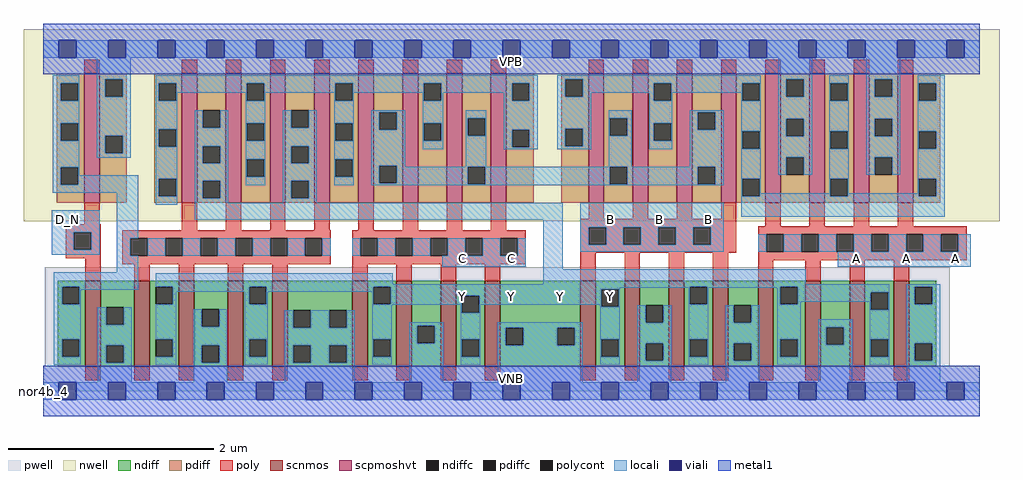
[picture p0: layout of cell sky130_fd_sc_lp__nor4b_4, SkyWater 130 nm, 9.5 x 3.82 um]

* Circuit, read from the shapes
.subckt sky130_fd_sc_lp__nor4b_4 A B C D_N VGND VNB VPB VPWR Y
XM1 VGND D_N n1 VNB sky130_fd_pr__nfet_01v8 w=0.84 l=0.15
XM2 Y n1 VGND VNB sky130_fd_pr__nfet_01v8 w=0.84 l=0.15 m=4
XM3 Y C VGND VNB sky130_fd_pr__nfet_01v8 w=0.84 l=0.15 m=4
XM4 Y B VGND VNB sky130_fd_pr__nfet_01v8 w=0.84 l=0.15 m=4
XM5 Y A VGND VNB sky130_fd_pr__nfet_01v8 w=0.84 l=0.15 m=4
XM6 VPWR D_N n1 VPB sky130_fd_pr__pfet_01v8_hvt w=1.26 l=0.15
XM7 Y n1 n2 VPB sky130_fd_pr__pfet_01v8_hvt w=1.26 l=0.15 m=4
XM8 n3 C n2 VPB sky130_fd_pr__pfet_01v8_hvt w=1.26 l=0.15 m=4
XM9 n3 B n4 VPB sky130_fd_pr__pfet_01v8_hvt w=1.26 l=0.15 m=4
XM10 VPWR A n4 VPB sky130_fd_pr__pfet_01v8_hvt w=1.26 l=0.15 m=4
.ends

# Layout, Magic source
magic
tech sky130A
magscale 1 2
<< nwell >>
rect -38 331 1862 704
<< pwell >>
rect 3 49 1765 241
rect 0 0 1824 49
<< scnmos >>
rect 82 47 112 215
rect 178 47 208 215
rect 264 47 294 215
rect 360 47 390 215
rect 446 47 476 215
rect 602 47 632 215
rect 688 47 718 215
rect 774 47 804 215
rect 860 47 890 215
rect 1046 47 1076 215
rect 1132 47 1162 215
rect 1218 47 1248 215
rect 1304 47 1334 215
rect 1392 47 1422 215
rect 1484 47 1514 215
rect 1570 47 1600 215
rect 1656 47 1686 215
<< scpmoshvt >>
rect 80 367 110 619
rect 270 367 300 619
rect 356 367 386 619
rect 442 367 472 619
rect 528 367 558 619
rect 614 367 644 619
rect 700 367 730 619
rect 786 367 816 619
rect 872 367 902 619
rect 1062 367 1092 619
rect 1148 367 1178 619
rect 1234 367 1264 619
rect 1320 367 1350 619
rect 1406 367 1436 619
rect 1492 367 1522 619
rect 1578 367 1608 619
rect 1664 367 1694 619
<< ndiff >>
rect 29 203 82 215
rect 29 169 37 203
rect 71 169 82 203
rect 29 101 82 169
rect 29 67 37 101
rect 71 67 82 101
rect 29 47 82 67
rect 112 163 178 215
rect 112 129 123 163
rect 157 129 178 163
rect 112 89 178 129
rect 112 55 123 89
rect 157 55 178 89
rect 112 47 178 55
rect 208 203 264 215
rect 208 169 219 203
rect 253 169 264 203
rect 208 101 264 169
rect 208 67 219 101
rect 253 67 264 101
rect 208 47 264 67
rect 294 159 360 215
rect 294 125 309 159
rect 343 125 360 159
rect 294 89 360 125
rect 294 55 309 89
rect 343 55 360 89
rect 294 47 360 55
rect 390 203 446 215
rect 390 169 401 203
rect 435 169 446 203
rect 390 101 446 169
rect 390 67 401 101
rect 435 67 446 101
rect 390 47 446 67
rect 476 157 602 215
rect 476 123 487 157
rect 521 123 557 157
rect 591 123 602 157
rect 476 89 602 123
rect 476 55 487 89
rect 521 55 557 89
rect 591 55 602 89
rect 476 47 602 55
rect 632 203 688 215
rect 632 169 643 203
rect 677 169 688 203
rect 632 101 688 169
rect 632 67 643 101
rect 677 67 688 101
rect 632 47 688 67
rect 718 127 774 215
rect 718 93 729 127
rect 763 93 774 127
rect 718 47 774 93
rect 804 186 860 215
rect 804 152 815 186
rect 849 152 860 186
rect 804 101 860 152
rect 804 67 815 101
rect 849 67 860 101
rect 804 47 860 67
rect 890 123 1046 215
rect 890 89 901 123
rect 935 89 1001 123
rect 1035 89 1046 123
rect 890 47 1046 89
rect 1076 198 1132 215
rect 1076 164 1087 198
rect 1121 164 1132 198
rect 1076 101 1132 164
rect 1076 67 1087 101
rect 1121 67 1132 101
rect 1076 47 1132 67
rect 1162 167 1218 215
rect 1162 133 1173 167
rect 1207 133 1218 167
rect 1162 93 1218 133
rect 1162 59 1173 93
rect 1207 59 1218 93
rect 1162 47 1218 59
rect 1248 203 1304 215
rect 1248 169 1259 203
rect 1293 169 1304 203
rect 1248 101 1304 169
rect 1248 67 1259 101
rect 1293 67 1304 101
rect 1248 47 1304 67
rect 1334 167 1392 215
rect 1334 133 1345 167
rect 1379 133 1392 167
rect 1334 93 1392 133
rect 1334 59 1345 93
rect 1379 59 1392 93
rect 1334 47 1392 59
rect 1422 203 1484 215
rect 1422 169 1435 203
rect 1469 169 1484 203
rect 1422 101 1484 169
rect 1422 67 1435 101
rect 1469 67 1484 101
rect 1422 47 1484 67
rect 1514 124 1570 215
rect 1514 90 1525 124
rect 1559 90 1570 124
rect 1514 47 1570 90
rect 1600 192 1656 215
rect 1600 158 1611 192
rect 1645 158 1656 192
rect 1600 101 1656 158
rect 1600 67 1611 101
rect 1645 67 1656 101
rect 1600 47 1656 67
rect 1686 203 1739 215
rect 1686 169 1697 203
rect 1731 169 1739 203
rect 1686 93 1739 169
rect 1686 59 1697 93
rect 1731 59 1739 93
rect 1686 47 1739 59
<< pdiff >>
rect 27 599 80 619
rect 27 565 35 599
rect 69 565 80 599
rect 27 521 80 565
rect 27 487 35 521
rect 69 487 80 521
rect 27 436 80 487
rect 27 402 35 436
rect 69 402 80 436
rect 27 367 80 402
rect 110 607 163 619
rect 110 573 121 607
rect 155 573 163 607
rect 110 497 163 573
rect 110 463 121 497
rect 155 463 163 497
rect 110 367 163 463
rect 217 599 270 619
rect 217 565 225 599
rect 259 565 270 599
rect 217 510 270 565
rect 217 476 225 510
rect 259 476 270 510
rect 217 413 270 476
rect 217 379 225 413
rect 259 379 270 413
rect 217 367 270 379
rect 300 547 356 619
rect 300 513 311 547
rect 345 513 356 547
rect 300 477 356 513
rect 300 443 311 477
rect 345 443 356 477
rect 300 409 356 443
rect 300 375 311 409
rect 345 375 356 409
rect 300 367 356 375
rect 386 599 442 619
rect 386 565 397 599
rect 431 565 442 599
rect 386 521 442 565
rect 386 487 397 521
rect 431 487 442 521
rect 386 451 442 487
rect 386 417 397 451
rect 431 417 442 451
rect 386 367 442 417
rect 472 547 528 619
rect 472 513 483 547
rect 517 513 528 547
rect 472 477 528 513
rect 472 443 483 477
rect 517 443 528 477
rect 472 409 528 443
rect 472 375 483 409
rect 517 375 528 409
rect 472 367 528 375
rect 558 599 614 619
rect 558 565 569 599
rect 603 565 614 599
rect 558 521 614 565
rect 558 487 569 521
rect 603 487 614 521
rect 558 451 614 487
rect 558 417 569 451
rect 603 417 614 451
rect 558 367 614 417
rect 644 543 700 619
rect 644 509 655 543
rect 689 509 700 543
rect 644 439 700 509
rect 644 405 655 439
rect 689 405 700 439
rect 644 367 700 405
rect 730 599 786 619
rect 730 565 741 599
rect 775 565 786 599
rect 730 521 786 565
rect 730 487 741 521
rect 775 487 786 521
rect 730 367 786 487
rect 816 531 872 619
rect 816 497 827 531
rect 861 497 872 531
rect 816 437 872 497
rect 816 403 827 437
rect 861 403 872 437
rect 816 367 872 403
rect 902 599 955 619
rect 902 565 913 599
rect 947 565 955 599
rect 902 509 955 565
rect 902 475 913 509
rect 947 475 955 509
rect 902 367 955 475
rect 1009 607 1062 619
rect 1009 573 1017 607
rect 1051 573 1062 607
rect 1009 511 1062 573
rect 1009 477 1017 511
rect 1051 477 1062 511
rect 1009 367 1062 477
rect 1092 531 1148 619
rect 1092 497 1103 531
rect 1137 497 1148 531
rect 1092 437 1148 497
rect 1092 403 1103 437
rect 1137 403 1148 437
rect 1092 367 1148 403
rect 1178 599 1234 619
rect 1178 565 1189 599
rect 1223 565 1234 599
rect 1178 521 1234 565
rect 1178 487 1189 521
rect 1223 487 1234 521
rect 1178 367 1234 487
rect 1264 543 1320 619
rect 1264 509 1275 543
rect 1309 509 1320 543
rect 1264 437 1320 509
rect 1264 403 1275 437
rect 1309 403 1320 437
rect 1264 367 1320 403
rect 1350 599 1406 619
rect 1350 565 1361 599
rect 1395 565 1406 599
rect 1350 506 1406 565
rect 1350 472 1361 506
rect 1395 472 1406 506
rect 1350 413 1406 472
rect 1350 379 1361 413
rect 1395 379 1406 413
rect 1350 367 1406 379
rect 1436 607 1492 619
rect 1436 573 1447 607
rect 1481 573 1492 607
rect 1436 530 1492 573
rect 1436 496 1447 530
rect 1481 496 1492 530
rect 1436 455 1492 496
rect 1436 421 1447 455
rect 1481 421 1492 455
rect 1436 367 1492 421
rect 1522 599 1578 619
rect 1522 565 1533 599
rect 1567 565 1578 599
rect 1522 506 1578 565
rect 1522 472 1533 506
rect 1567 472 1578 506
rect 1522 413 1578 472
rect 1522 379 1533 413
rect 1567 379 1578 413
rect 1522 367 1578 379
rect 1608 607 1664 619
rect 1608 573 1619 607
rect 1653 573 1664 607
rect 1608 530 1664 573
rect 1608 496 1619 530
rect 1653 496 1664 530
rect 1608 455 1664 496
rect 1608 421 1619 455
rect 1653 421 1664 455
rect 1608 367 1664 421
rect 1694 599 1747 619
rect 1694 565 1705 599
rect 1739 565 1747 599
rect 1694 506 1747 565
rect 1694 472 1705 506
rect 1739 472 1747 506
rect 1694 413 1747 472
rect 1694 379 1705 413
rect 1739 379 1747 413
rect 1694 367 1747 379
<< ndiffc >>
rect 37 169 71 203
rect 37 67 71 101
rect 123 129 157 163
rect 123 55 157 89
rect 219 169 253 203
rect 219 67 253 101
rect 309 125 343 159
rect 309 55 343 89
rect 401 169 435 203
rect 401 67 435 101
rect 487 123 521 157
rect 557 123 591 157
rect 487 55 521 89
rect 557 55 591 89
rect 643 169 677 203
rect 643 67 677 101
rect 729 93 763 127
rect 815 152 849 186
rect 815 67 849 101
rect 901 89 935 123
rect 1001 89 1035 123
rect 1087 164 1121 198
rect 1087 67 1121 101
rect 1173 133 1207 167
rect 1173 59 1207 93
rect 1259 169 1293 203
rect 1259 67 1293 101
rect 1345 133 1379 167
rect 1345 59 1379 93
rect 1435 169 1469 203
rect 1435 67 1469 101
rect 1525 90 1559 124
rect 1611 158 1645 192
rect 1611 67 1645 101
rect 1697 169 1731 203
rect 1697 59 1731 93
<< pdiffc >>
rect 35 565 69 599
rect 35 487 69 521
rect 35 402 69 436
rect 121 573 155 607
rect 121 463 155 497
rect 225 565 259 599
rect 225 476 259 510
rect 225 379 259 413
rect 311 513 345 547
rect 311 443 345 477
rect 311 375 345 409
rect 397 565 431 599
rect 397 487 431 521
rect 397 417 431 451
rect 483 513 517 547
rect 483 443 517 477
rect 483 375 517 409
rect 569 565 603 599
rect 569 487 603 521
rect 569 417 603 451
rect 655 509 689 543
rect 655 405 689 439
rect 741 565 775 599
rect 741 487 775 521
rect 827 497 861 531
rect 827 403 861 437
rect 913 565 947 599
rect 913 475 947 509
rect 1017 573 1051 607
rect 1017 477 1051 511
rect 1103 497 1137 531
rect 1103 403 1137 437
rect 1189 565 1223 599
rect 1189 487 1223 521
rect 1275 509 1309 543
rect 1275 403 1309 437
rect 1361 565 1395 599
rect 1361 472 1395 506
rect 1361 379 1395 413
rect 1447 573 1481 607
rect 1447 496 1481 530
rect 1447 421 1481 455
rect 1533 565 1567 599
rect 1533 472 1567 506
rect 1533 379 1567 413
rect 1619 573 1653 607
rect 1619 496 1653 530
rect 1619 421 1653 455
rect 1705 565 1739 599
rect 1705 472 1739 506
rect 1705 379 1739 413
<< poly >>
rect 80 619 110 645
rect 270 619 300 645
rect 356 619 386 645
rect 442 619 472 645
rect 528 619 558 645
rect 614 619 644 645
rect 700 619 730 645
rect 786 619 816 645
rect 872 619 902 645
rect 1062 619 1092 645
rect 1148 619 1178 645
rect 1234 619 1264 645
rect 1320 619 1350 645
rect 1406 619 1436 645
rect 1492 619 1522 645
rect 1578 619 1608 645
rect 1664 619 1694 645
rect 80 325 110 367
rect 44 309 112 325
rect 270 313 300 367
rect 356 313 386 367
rect 442 313 472 367
rect 528 313 558 367
rect 614 313 644 367
rect 700 313 730 367
rect 786 313 816 367
rect 872 313 902 367
rect 1062 335 1092 367
rect 1148 335 1178 367
rect 1234 335 1264 367
rect 1320 335 1350 367
rect 1046 319 1350 335
rect 1406 321 1436 367
rect 1492 321 1522 367
rect 1578 321 1608 367
rect 1664 321 1694 367
rect 44 275 60 309
rect 94 275 112 309
rect 44 259 112 275
rect 82 215 112 259
rect 154 297 560 313
rect 154 263 170 297
rect 204 263 238 297
rect 272 263 306 297
rect 340 263 374 297
rect 408 263 442 297
rect 476 263 510 297
rect 544 263 560 297
rect 154 247 560 263
rect 602 297 940 313
rect 602 263 618 297
rect 652 263 686 297
rect 720 263 754 297
rect 788 263 822 297
rect 856 263 890 297
rect 924 263 940 297
rect 602 247 940 263
rect 1046 285 1062 319
rect 1096 285 1130 319
rect 1164 285 1198 319
rect 1232 285 1266 319
rect 1300 285 1350 319
rect 1046 269 1350 285
rect 1392 305 1798 321
rect 1392 271 1408 305
rect 1442 271 1476 305
rect 1510 271 1544 305
rect 1578 271 1612 305
rect 1646 271 1680 305
rect 1714 271 1748 305
rect 1782 271 1798 305
rect 178 215 208 247
rect 264 215 294 247
rect 360 215 390 247
rect 446 215 476 247
rect 602 215 632 247
rect 688 215 718 247
rect 774 215 804 247
rect 860 215 890 247
rect 1046 215 1076 269
rect 1132 215 1162 269
rect 1218 215 1248 269
rect 1304 215 1334 269
rect 1392 255 1798 271
rect 1392 215 1422 255
rect 1484 215 1514 255
rect 1570 215 1600 255
rect 1656 215 1686 255
rect 82 21 112 47
rect 178 21 208 47
rect 264 21 294 47
rect 360 21 390 47
rect 446 21 476 47
rect 602 21 632 47
rect 688 21 718 47
rect 774 21 804 47
rect 860 21 890 47
rect 1046 21 1076 47
rect 1132 21 1162 47
rect 1218 21 1248 47
rect 1304 21 1334 47
rect 1392 21 1422 47
rect 1484 21 1514 47
rect 1570 21 1600 47
rect 1656 21 1686 47
<< polycont >>
rect 60 275 94 309
rect 170 263 204 297
rect 238 263 272 297
rect 306 263 340 297
rect 374 263 408 297
rect 442 263 476 297
rect 510 263 544 297
rect 618 263 652 297
rect 686 263 720 297
rect 754 263 788 297
rect 822 263 856 297
rect 890 263 924 297
rect 1062 285 1096 319
rect 1130 285 1164 319
rect 1198 285 1232 319
rect 1266 285 1300 319
rect 1408 271 1442 305
rect 1476 271 1510 305
rect 1544 271 1578 305
rect 1612 271 1646 305
rect 1680 271 1714 305
rect 1748 271 1782 305
<< locali >>
rect 0 649 31 683
rect 65 649 127 683
rect 161 649 223 683
rect 257 649 319 683
rect 353 649 415 683
rect 449 649 511 683
rect 545 649 607 683
rect 641 649 703 683
rect 737 649 799 683
rect 833 649 895 683
rect 929 649 991 683
rect 1025 649 1087 683
rect 1121 649 1183 683
rect 1217 649 1279 683
rect 1313 649 1375 683
rect 1409 649 1471 683
rect 1505 649 1567 683
rect 1601 649 1663 683
rect 1697 649 1759 683
rect 1793 649 1824 683
rect 19 599 71 615
rect 19 565 35 599
rect 69 565 71 599
rect 19 521 71 565
rect 19 487 35 521
rect 69 487 71 521
rect 19 436 71 487
rect 105 607 171 649
rect 105 573 121 607
rect 155 573 171 607
rect 105 497 171 573
rect 105 463 121 497
rect 155 463 171 497
rect 105 454 171 463
rect 219 599 963 615
rect 219 565 225 599
rect 259 581 397 599
rect 259 565 261 581
rect 219 510 261 565
rect 395 565 397 581
rect 431 581 569 599
rect 431 565 433 581
rect 219 476 225 510
rect 259 476 261 510
rect 19 402 35 436
rect 69 420 71 436
rect 69 402 185 420
rect 19 386 185 402
rect 17 309 110 352
rect 17 275 60 309
rect 94 275 110 309
rect 17 265 110 275
rect 144 297 185 386
rect 219 413 261 476
rect 219 379 225 413
rect 259 379 261 413
rect 219 363 261 379
rect 295 513 311 547
rect 345 513 361 547
rect 295 477 361 513
rect 295 443 311 477
rect 345 443 361 477
rect 295 409 361 443
rect 295 375 311 409
rect 345 375 361 409
rect 395 521 433 565
rect 567 565 569 581
rect 603 581 741 599
rect 603 565 605 581
rect 395 487 397 521
rect 431 487 433 521
rect 395 451 433 487
rect 395 417 397 451
rect 431 417 433 451
rect 395 401 433 417
rect 467 513 483 547
rect 517 513 533 547
rect 467 477 533 513
rect 467 443 483 477
rect 517 443 533 477
rect 467 409 533 443
rect 295 367 361 375
rect 467 375 483 409
rect 517 375 533 409
rect 567 521 605 565
rect 739 565 741 581
rect 775 581 913 599
rect 775 565 779 581
rect 567 487 569 521
rect 603 487 605 521
rect 567 451 605 487
rect 567 417 569 451
rect 603 417 605 451
rect 567 401 605 417
rect 639 543 705 547
rect 639 509 655 543
rect 689 509 705 543
rect 639 439 705 509
rect 739 521 779 565
rect 897 565 913 581
rect 947 565 963 599
rect 739 487 741 521
rect 775 487 779 521
rect 739 471 779 487
rect 823 531 863 547
rect 823 497 827 531
rect 861 497 863 531
rect 639 405 655 439
rect 689 437 705 439
rect 823 437 863 497
rect 897 509 963 565
rect 897 475 913 509
rect 947 475 963 509
rect 897 471 963 475
rect 1001 607 1397 615
rect 1001 573 1017 607
rect 1051 599 1397 607
rect 1051 581 1189 599
rect 1051 573 1067 581
rect 1001 511 1067 573
rect 1180 565 1189 581
rect 1223 581 1361 599
rect 1223 565 1225 581
rect 1001 477 1017 511
rect 1051 477 1067 511
rect 1001 471 1067 477
rect 1101 531 1146 547
rect 1101 497 1103 531
rect 1137 497 1146 531
rect 1101 437 1146 497
rect 1180 521 1225 565
rect 1359 565 1361 581
rect 1395 565 1397 599
rect 1180 487 1189 521
rect 1223 487 1225 521
rect 1180 471 1225 487
rect 1259 543 1325 547
rect 1259 509 1275 543
rect 1309 509 1325 543
rect 1259 437 1325 509
rect 689 405 827 437
rect 639 403 827 405
rect 861 403 1103 437
rect 1137 403 1275 437
rect 1309 403 1325 437
rect 639 401 1325 403
rect 1359 506 1397 565
rect 1359 472 1361 506
rect 1395 472 1397 506
rect 1359 413 1397 472
rect 1431 607 1497 649
rect 1431 573 1447 607
rect 1481 573 1497 607
rect 1431 530 1497 573
rect 1431 496 1447 530
rect 1481 496 1497 530
rect 1431 455 1497 496
rect 1431 421 1447 455
rect 1481 421 1497 455
rect 1531 599 1569 615
rect 1531 565 1533 599
rect 1567 565 1569 599
rect 1531 506 1569 565
rect 1531 472 1533 506
rect 1567 472 1569 506
rect 467 367 533 375
rect 1359 379 1361 413
rect 1395 385 1397 413
rect 1531 413 1569 472
rect 1603 607 1669 649
rect 1603 573 1619 607
rect 1653 573 1669 607
rect 1603 530 1669 573
rect 1603 496 1619 530
rect 1653 496 1669 530
rect 1603 455 1669 496
rect 1603 421 1619 455
rect 1653 421 1669 455
rect 1703 599 1755 615
rect 1703 565 1705 599
rect 1739 565 1755 599
rect 1703 506 1755 565
rect 1703 472 1705 506
rect 1739 472 1755 506
rect 1531 385 1533 413
rect 1395 379 1533 385
rect 1567 385 1569 413
rect 1703 413 1755 472
rect 1703 385 1705 413
rect 1567 379 1705 385
rect 1739 379 1755 413
rect 295 333 1012 367
rect 144 263 170 297
rect 204 263 238 297
rect 272 263 306 297
rect 340 263 374 297
rect 408 263 442 297
rect 476 263 510 297
rect 544 263 560 297
rect 602 263 618 297
rect 652 263 686 297
rect 720 263 754 297
rect 788 263 822 297
rect 856 263 890 297
rect 924 263 940 297
rect 144 231 185 263
rect 777 242 940 263
rect 21 203 185 231
rect 974 237 1012 333
rect 1046 319 1325 367
rect 1359 339 1755 379
rect 1046 285 1062 319
rect 1096 285 1130 319
rect 1164 285 1198 319
rect 1232 285 1266 319
rect 1300 285 1325 319
rect 1046 271 1325 285
rect 1392 271 1408 305
rect 1442 271 1476 305
rect 1510 271 1544 305
rect 1578 271 1612 305
rect 1646 271 1680 305
rect 1714 271 1748 305
rect 1782 271 1806 305
rect 1547 242 1806 271
rect 21 169 37 203
rect 71 197 185 203
rect 219 208 681 229
rect 974 208 1485 237
rect 219 203 1647 208
rect 71 169 73 197
rect 21 101 73 169
rect 253 193 401 203
rect 253 169 259 193
rect 21 67 37 101
rect 71 67 73 101
rect 21 51 73 67
rect 107 129 123 163
rect 157 129 173 163
rect 107 89 173 129
rect 107 55 123 89
rect 157 55 173 89
rect 107 17 173 55
rect 219 101 259 169
rect 393 169 401 193
rect 435 193 643 203
rect 435 169 437 193
rect 253 67 259 101
rect 219 51 259 67
rect 293 125 309 159
rect 343 125 359 159
rect 293 89 359 125
rect 293 55 309 89
rect 343 55 359 89
rect 293 17 359 55
rect 393 101 437 169
rect 641 169 643 193
rect 677 201 1259 203
rect 677 198 1123 201
rect 677 186 1087 198
rect 677 169 815 186
rect 641 168 815 169
rect 393 67 401 101
rect 435 67 437 101
rect 393 51 437 67
rect 471 123 487 157
rect 521 123 557 157
rect 591 123 607 157
rect 471 89 607 123
rect 471 55 487 89
rect 521 55 557 89
rect 591 55 607 89
rect 471 17 607 55
rect 641 101 679 168
rect 813 152 815 168
rect 849 168 1087 186
rect 849 152 851 168
rect 641 67 643 101
rect 677 67 679 101
rect 641 51 679 67
rect 713 127 779 134
rect 713 93 729 127
rect 763 93 779 127
rect 713 17 779 93
rect 813 101 851 152
rect 1085 164 1087 168
rect 1121 164 1123 198
rect 1257 169 1259 201
rect 1293 201 1435 203
rect 1293 169 1295 201
rect 813 67 815 101
rect 849 67 851 101
rect 813 51 851 67
rect 885 123 1051 134
rect 885 89 901 123
rect 935 89 1001 123
rect 1035 89 1051 123
rect 885 17 1051 89
rect 1085 101 1123 164
rect 1085 67 1087 101
rect 1121 67 1123 101
rect 1085 51 1123 67
rect 1157 133 1173 167
rect 1207 133 1223 167
rect 1157 93 1223 133
rect 1157 59 1173 93
rect 1207 59 1223 93
rect 1157 17 1223 59
rect 1257 101 1295 169
rect 1429 169 1435 201
rect 1469 192 1647 203
rect 1469 174 1611 192
rect 1469 169 1475 174
rect 1257 67 1259 101
rect 1293 67 1295 101
rect 1257 51 1295 67
rect 1329 133 1345 167
rect 1379 133 1395 167
rect 1329 93 1395 133
rect 1329 59 1345 93
rect 1379 59 1395 93
rect 1329 17 1395 59
rect 1429 101 1475 169
rect 1609 158 1611 174
rect 1645 158 1647 192
rect 1429 67 1435 101
rect 1469 67 1475 101
rect 1429 51 1475 67
rect 1509 124 1575 140
rect 1509 90 1525 124
rect 1559 90 1575 124
rect 1509 17 1575 90
rect 1609 101 1647 158
rect 1609 67 1611 101
rect 1645 67 1647 101
rect 1609 51 1647 67
rect 1681 203 1747 208
rect 1681 169 1697 203
rect 1731 169 1747 203
rect 1681 93 1747 169
rect 1681 59 1697 93
rect 1731 59 1747 93
rect 1681 17 1747 59
rect 0 -17 31 17
rect 65 -17 127 17
rect 161 -17 223 17
rect 257 -17 319 17
rect 353 -17 415 17
rect 449 -17 511 17
rect 545 -17 607 17
rect 641 -17 703 17
rect 737 -17 799 17
rect 833 -17 895 17
rect 929 -17 991 17
rect 1025 -17 1087 17
rect 1121 -17 1183 17
rect 1217 -17 1279 17
rect 1313 -17 1375 17
rect 1409 -17 1471 17
rect 1505 -17 1567 17
rect 1601 -17 1663 17
rect 1697 -17 1759 17
rect 1793 -17 1824 17
<< viali >>
rect 31 649 65 683
rect 127 649 161 683
rect 223 649 257 683
rect 319 649 353 683
rect 415 649 449 683
rect 511 649 545 683
rect 607 649 641 683
rect 703 649 737 683
rect 799 649 833 683
rect 895 649 929 683
rect 991 649 1025 683
rect 1087 649 1121 683
rect 1183 649 1217 683
rect 1279 649 1313 683
rect 1375 649 1409 683
rect 1471 649 1505 683
rect 1567 649 1601 683
rect 1663 649 1697 683
rect 1759 649 1793 683
rect 31 -17 65 17
rect 127 -17 161 17
rect 223 -17 257 17
rect 319 -17 353 17
rect 415 -17 449 17
rect 511 -17 545 17
rect 607 -17 641 17
rect 703 -17 737 17
rect 799 -17 833 17
rect 895 -17 929 17
rect 991 -17 1025 17
rect 1087 -17 1121 17
rect 1183 -17 1217 17
rect 1279 -17 1313 17
rect 1375 -17 1409 17
rect 1471 -17 1505 17
rect 1567 -17 1601 17
rect 1663 -17 1697 17
rect 1759 -17 1793 17
<< metal1 >>
rect 0 683 1824 715
rect 0 649 31 683
rect 65 649 127 683
rect 161 649 223 683
rect 257 649 319 683
rect 353 649 415 683
rect 449 649 511 683
rect 545 649 607 683
rect 641 649 703 683
rect 737 649 799 683
rect 833 649 895 683
rect 929 649 991 683
rect 1025 649 1087 683
rect 1121 649 1183 683
rect 1217 649 1279 683
rect 1313 649 1375 683
rect 1409 649 1471 683
rect 1505 649 1567 683
rect 1601 649 1663 683
rect 1697 649 1759 683
rect 1793 649 1824 683
rect 0 617 1824 649
rect 0 17 1824 49
rect 0 -17 31 17
rect 65 -17 127 17
rect 161 -17 223 17
rect 257 -17 319 17
rect 353 -17 415 17
rect 449 -17 511 17
rect 545 -17 607 17
rect 641 -17 703 17
rect 737 -17 799 17
rect 833 -17 895 17
rect 929 -17 991 17
rect 1025 -17 1087 17
rect 1121 -17 1183 17
rect 1217 -17 1279 17
rect 1313 -17 1375 17
rect 1409 -17 1471 17
rect 1505 -17 1567 17
rect 1601 -17 1663 17
rect 1697 -17 1759 17
rect 1793 -17 1824 17
rect 0 -49 1824 -17
<< labels >>
flabel pwell s 0 0 1824 49 0 FreeSans 200 0 0 0 VNB
port 6 nsew ground bidirectional
flabel nwell s 0 617 1824 666 0 FreeSans 200 0 0 0 VPB
port 7 nsew power bidirectional
rlabel comment s 0 0 0 0 4 nor4b_4
flabel metal1 s 0 617 1824 666 0 FreeSans 340 0 0 0 VPWR
port 8 nsew power bidirectional
flabel metal1 s 0 0 1824 49 0 FreeSans 340 0 0 0 VGND
port 5 nsew ground bidirectional
flabel locali s 1567 242 1601 276 0 FreeSans 340 0 0 0 A
port 1 nsew signal input
flabel locali s 1663 242 1697 276 0 FreeSans 340 0 0 0 A
port 1 nsew signal input
flabel locali s 1759 242 1793 276 0 FreeSans 340 0 0 0 A
port 1 nsew signal input
flabel locali s 1087 316 1121 350 0 FreeSans 340 0 0 0 B
port 2 nsew signal input
flabel locali s 1183 316 1217 350 0 FreeSans 340 0 0 0 B
port 2 nsew signal input
flabel locali s 1279 316 1313 350 0 FreeSans 340 0 0 0 B
port 2 nsew signal input
flabel locali s 799 242 833 276 0 FreeSans 340 0 0 0 C
port 3 nsew signal input
flabel locali s 895 242 929 276 0 FreeSans 340 0 0 0 C
port 3 nsew signal input
flabel locali s 31 316 65 350 0 FreeSans 340 0 0 0 D_N
port 4 nsew signal input
flabel locali s 799 168 833 202 0 FreeSans 340 0 0 0 Y
port 9 nsew signal output
flabel locali s 895 168 929 202 0 FreeSans 340 0 0 0 Y
port 9 nsew signal output
flabel locali s 991 168 1025 202 0 FreeSans 340 0 0 0 Y
port 9 nsew signal output
flabel locali s 1087 168 1121 202 0 FreeSans 340 0 0 0 Y
port 9 nsew signal output
<< properties >>
string LEFsite unit
string LEFclass CORE
string FIXED_BBOX 0 0 1824 666
string GDS_FILE $PDKPATH/libs.ref/sky130_fd_sc_lp/gds/sky130_fd_sc_lp.gds
string LEFsymmetry X Y R90
string GDS_END 1809128
string GDS_START 1793346
<< end >>
